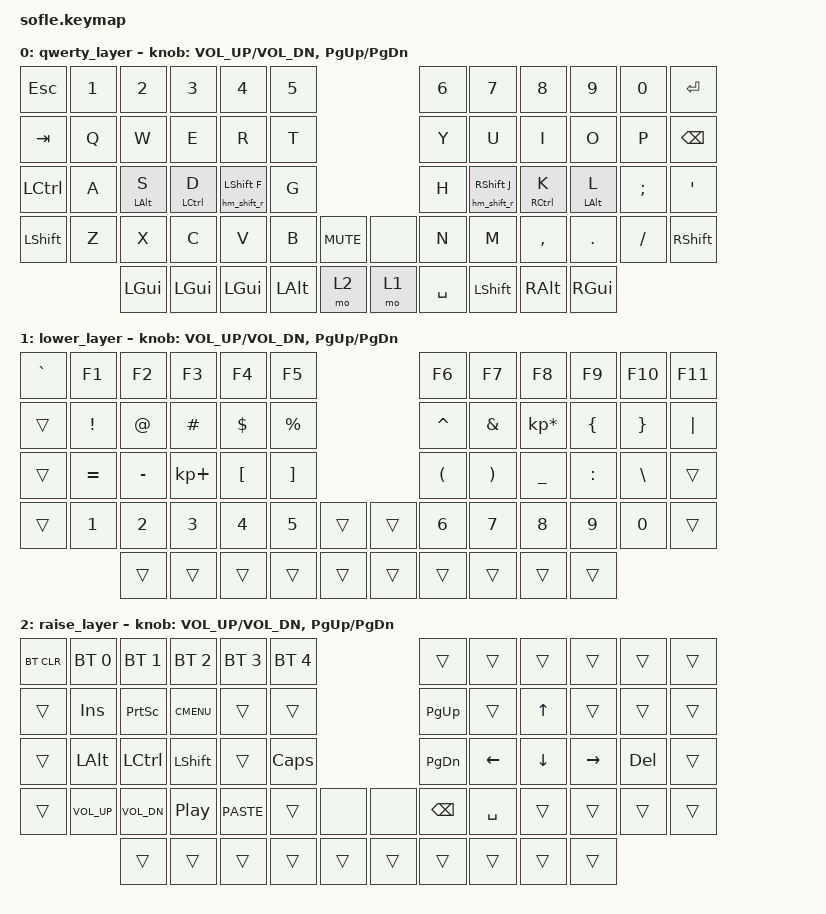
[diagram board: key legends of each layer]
/*
 * Copyright (c) 2020 The ZMK Contributors
 *
 * SPDX-License-Identifier: MIT
 */

// ZMK includes
#include <behaviors.dtsi>
#include <dt-bindings/zmk/keys.h>
#include <dt-bindings/zmk/bt.h>
#include <dt-bindings/zmk/ext_power.h>

// Define layer numbers
#define BASE 0
#define BASE_QWERTY 1
#define NAV_WORD 2
#define NUM_WORD 3
#define SYM_WORD 4
#define NAV 5
#define NUM 6
#define SYM 7
#define FUNC 8
#define ADJUST 9
#define LOWER 10

// Personal includes
#include "includes/custom_keycodes.dtsi"
#include "includes/settings.dtsi"
//#include "includes/settings_pd.dtsi"
#include "includes/conditional_layers.dtsi"
#include "includes/macros.dtsi"
#include "includes/combos.dtsi"
#include "includes/behaviours_homerow_mods.dtsi"
#include "includes/behaviours_mod_morph.dtsi"
#include "includes/behaviours_other.dtsi"

/ {
    keymap {
        compatible = "zmk,keymap";

        qwerty_layer {
// ------------------------------------------------------------------------------------------------------------
// |  ESC  |  1  |  2  |  3   |  4   |  5   |                   |  6   |  7    |  8    |  9   |   0   | RET   |
// |  TAB  |  Q  |  W  |  E   |  R   |  T   |                   |  Y   |  U    |  I    |  O   |   P   | BKSPC |
// | LCTRL |  A  |  S  |  D   |  F   |  G   |                   |  H   |  J    |  K    |  L   |   ;   |   '   |
// | SHIFT |  Z  |  X  |  C   |  V   |  B   |  MUTE  |  |       |  N   |  M    |  ,    |  .   |   /   | SHIFT |
//               | GUI | SHIFT  | LGUI | ALT|  LOWER |  | RAISE | SPACE| SHIFT | ALT   | GUI  |
            bindings = <
&kp ESC	&kp N1		&kp N2		&kp N3		&kp N4		&kp N5		&kp N6		&kp N7		&kp N8		&kp N9		&kp N0		&kp RET
&kp TAB	&kp Q		&kp W		&kp E		&kp R		&kp T		&kp Y		&kp U           &kp I           &kp O		&kp P           &kp BSPC
&kp LCTRL	&kp A		&hm_r LALT S    &hm_r LCTRL D   &hm_shift_r LSHFT F &kp G       &kp H		&hm_shift_r RSHFT J		&hm_r RCTRL K   &hm_r LALT L    &kp SEMI &kp SQT
&kp LSHFT &kp Z &kp X		&kp C		&kp V		&kp B		&kp C_MUTE	&none		&kp N		&kp M           &kp COMMA       &kp DOT         &kp FSLH &kp RSHFT
                &kp LGUI	&kp LGUI	&kp LGUI	&kp LALT	&mo 2		&mo 1		&kp SPACE	&kp LSHIFT       &kp RALT        &kp RGUI
            >;

            sensor-bindings = <&inc_dec_kp C_VOL_UP C_VOL_DN &inc_dec_kp PG_UP PG_DN>;
        };

        lower_layer {

// TODO:
// - the topmost row is useless here.
// - both '>' and '<' are frequently used with "=" or "-", yet is missing from this keymap.
//   a special macro for it? or maybe utilize shift?
// - hold (some pinky key ? both function keys ?) for a layer ?  
// - some binds are waiting for shifted keycode support
// - try out the next key after shift to be space ?
// ------------------------------------------------------------------------------------------------------------
// | `     |  F1 |  F2 |  F3  |  F4  |  F5  |                   |  F6  |  F7   |  F8   |  F9  |  F10  |  F11  |
// |       |  !  |  @  |  #   |  $   |  %   |                   |  ^   |  &    |  *    |  {   |   }   |   |   |
// |       |  =  |  -  |  +   |  [   |  ]   |        |  |       |  (   |  )    |  _    |  :   |   \   |       |
// |       |  1  |  2  |   3  |   4  |   5  |                   |   6  |   7   |   8   |   9  |    0  |       |
//               |     |      |      |      |        |  |       |      |       |       |      |
            bindings = <
&kp GRAVE &kp F1    &kp F2    &kp F3      &kp F4    &kp F5                    &kp F6    &kp F7   &kp F8          &kp F9    &kp F10   &kp F11
&trans    &kp EXCL  &kp AT    &kp HASH    &kp DLLR  &kp PRCNT                 &kp CARET &kp AMPS &kp KP_MULTIPLY &kp LBRC  &kp RBRC  &kp PIPE
&trans    &kp EQUAL &kp MINUS &kp KP_PLUS &kp LBKT  &kp RBKT                  &kp LPAR  &kp RPAR &kp UNDERSCORE  &kp COLON &kp BSLH  &trans
&trans    &kp N1    &kp N2    &kp N3      &kp N4    &kp N5    &trans   &trans &kp N6    &kp N7   &kp N8          &kp N9    &kp N0    &trans
                    &trans    &trans      &trans    &trans    &trans   &trans &trans    &trans   &trans          &trans
            >;

            sensor-bindings = <&inc_dec_kp C_VOL_UP C_VOL_DN &inc_dec_kp PG_UP PG_DN>;
        };

        raise_layer {
// ------------------------------------------------------------------------------------------------------------
// |BTCLR| BT1  | BT2  |  BT3  |  BT4  |  BT5 |                |      |      |       |      |       |       |
// |     | INS  | PSCR | GUI   |       |      |                | PGUP |      |   ^   |      |       |       |
// |     | ALT  | CTRL | SHIFT |       | CAPS |                | PGDN |   <- |   v   |  ->  |  DEL  |       |
// |     | volu | vold | play  | PASTE |      |      |  |      |      | BSPC |  SPC  |      |       |       |
//              |      |       |       |      |      |  |      |      |      |       |      |
            bindings = <
&bt BT_CLR	&bt BT_SEL 0	&bt BT_SEL 1	&bt BT_SEL 2	&bt BT_SEL 3	&bt BT_SEL 4					&trans		&trans		&trans		&trans		&trans		&trans
&trans		&kp INS		&kp PSCRN	&kp K_CMENU	&trans		&trans						&kp PG_UP	&trans		&kp UP		&trans		&trans		&trans
&trans		&kp LALT	&kp LCTRL	&kp LSHFT	&trans		&kp CLCK					&kp PG_DN	&kp LEFT	&kp DOWN	&kp RIGHT	&kp DEL		&trans
&trans		&kp K_VOL_UP	&kp K_VOL_DN	&kp C_PP	&kp K_PASTE	&trans		&none		&none		&kp BSPC	&kp SPACE	&trans		&trans		&trans		&trans
				&trans		&trans		&trans		&trans		&trans		&trans		&trans		&trans		&trans		&trans
            >;

            sensor-bindings = <&inc_dec_kp C_VOL_UP C_VOL_DN &inc_dec_kp PG_UP PG_DN>;
        };
    };
};
